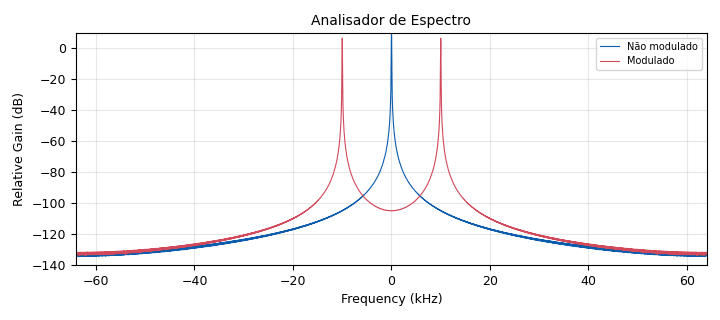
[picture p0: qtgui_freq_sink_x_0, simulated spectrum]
options:
  parameters:
    author: pedro
    generate_options: qt_gui
    id: m180108140_Exp02_AR02
    output_language: python
    title: AR02
  states: {}

blocks:
- name: Ka
  id: variable_qtgui_range
  parameters:
    orient: Qt.Horizontal
    start: '0'
    step: '1'
    stop: '12'
    value: '6'
  states: {}
- name: fc
  id: variable_qtgui_range
  parameters:
    orient: Qt.Horizontal
    start: '0'
    step: '100'
    stop: '32000'
    value: '10000'
  states: {}
- name: samp_rate
  id: variable_qtgui_range
  parameters:
    orient: Qt.Horizontal
    start: '0'
    step: '1000'
    stop: '248000'
    value: '128000'
  states: {}
- name: analog_sig_source_x_0
  id: analog_sig_source_x
  parameters:
    amp: '2'
    freq: '20'
    offset: '-1'
    phase: '0'
    samp_rate: samp_rate
    type: float
    waveform: analog.GR_TRI_WAVE
  states: {}
- name: analog_sig_source_x_0_0
  id: analog_sig_source_x
  parameters:
    amp: '1'
    freq: fc
    offset: '0'
    phase: '0'
    samp_rate: samp_rate
    type: float
    waveform: analog.GR_COS_WAVE
  states: {}
- name: blocks_add_const_vxx_0
  id: blocks_add_const_vxx
  parameters:
    const: '8'
    type: float
  states: {}
- name: blocks_multiply_const_vxx_0
  id: blocks_multiply_const_vxx
  parameters:
    const: Ka
    type: float
  states: {}
- name: blocks_multiply_xx_0
  id: blocks_multiply_xx
  parameters:
    type: float
  states: {}
- name: blocks_throttle_0
  id: blocks_throttle
  parameters:
    samples_per_second: samp_rate
    type: float
  states: {}
- name: blocks_throttle_0_0
  id: blocks_throttle
  parameters:
    samples_per_second: samp_rate
    type: float
  states: {}
- name: qtgui_freq_sink_x_0
  id: qtgui_freq_sink_x
  parameters:
    bw: samp_rate
    ctrlpanel: 'True'
    fc: '0'
    fftsize: '4096'
    grid: 'True'
    label1: Não modulado
    label2: Modulado
    name: Analisador de Espectro
    nconnections: '2'
    type: float
    wintype: firdes.WIN_BLACKMAN_hARRIS
  states: {}

connections:
- [analog_sig_source_x_0, '0', blocks_throttle_0, '0']
- [analog_sig_source_x_0_0, '0', blocks_throttle_0_0, '0']
- [blocks_add_const_vxx_0, '0', blocks_multiply_xx_0, '0']
- [blocks_add_const_vxx_0, '0', qtgui_freq_sink_x_0, '0']
- [blocks_multiply_const_vxx_0, '0', blocks_add_const_vxx_0, '0']
- [blocks_multiply_xx_0, '0', qtgui_freq_sink_x_0, '1']
- [blocks_throttle_0, '0', blocks_multiply_const_vxx_0, '0']
- [blocks_throttle_0_0, '0', blocks_multiply_xx_0, '1']

metadata:
  file_format: 1
